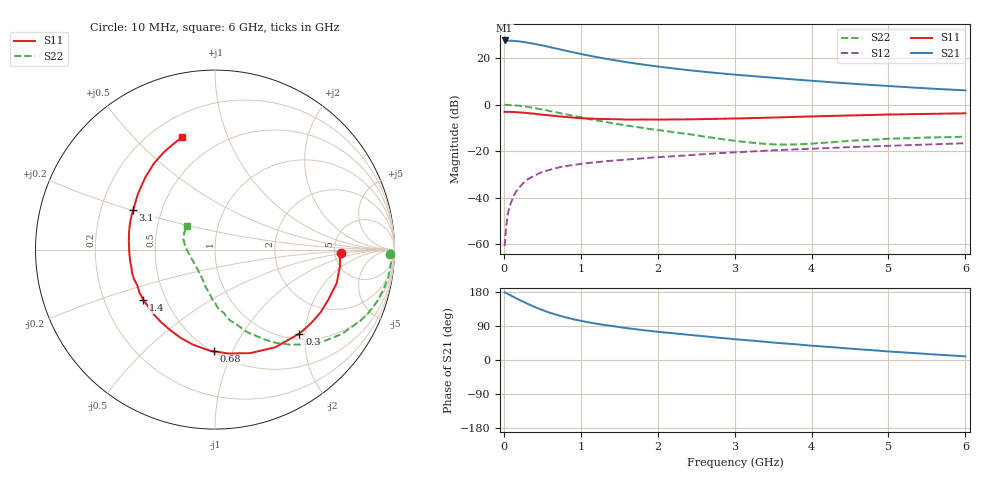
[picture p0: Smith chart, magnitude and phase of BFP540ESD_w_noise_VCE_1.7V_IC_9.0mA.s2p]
! Infineon Technologies  Discrete & RF Semiconductors
! BFP540ESD
! VCE =  1.7 V,  IC =  9.0 mA
! Common Emitter S-Parameters:  Nov 2015
# GHz  S  MA  R  50
!  f  S11  S21  S12  S22
! GHz  MAG  ANG  MAG  ANG  MAG  ANG  MAG  ANG
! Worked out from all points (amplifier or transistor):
!   210 points, 10 MHz to 6 GHz, reference 50 ohm
!   highest |S21| = 27.6 dB at 10 MHz (marker M1)
!   |S21| within 3 dB of that: start of sweep to 616.2 MHz
!   unconditionally stable (mu >= 1): 2.825 GHz to end of sweep
!   at 185 MHz: K = 0.10, MSG = 31.8 dB, |S12| = -36.4 dB
!   at 1.52 GHz: K = 0.70, MSG = 21.3 dB, |S12| = -23.9 dB
!   at 6 GHz: K = 1.17, MAG = 8.9 dB, |S12| = -16.6 dB
!   lowest NFmin = 0.83 dB at 900 MHz
!   S11 on the Smith chart (normalised r, x): 10 MHz: 5.63, -0.38; 300 MHz: 1.12, -1.87; 680 MHz: 0.51, -0.85; 1.4 GHz: 0.37, -0.27; 3.1 GHz: 0.34, +0.20; 6 GHz: 0.32, +0.70
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0.01  0.6997 -1.4  24.07 178.6  0.0009 105.3  0.973 -1.5
0.02  0.6975 -3.4  23.8 178.1  0.0014 84.6  0.9935 -1.8
0.05  0.7022 -7.7  23.9 174.5  0.0043 90.0  0.9833 -4.4
0.1  0.7034 -15.5  23.81 169.2  0.0083 84.9  0.9778 -9.0
0.15  0.6914 -23.0  23.46 164.0  0.0128 81.1  0.9646 -13.4
0.22  0.6793 -33.4  22.72 156.8  0.0179 75.6  0.939 -19.5
0.3  0.6637 -44.9  21.79 148.9  0.0241 72.1  0.903 -26.0
0.4  0.6395 -58.3  20.31 139.8  0.0298 66.1  0.8492 -33.6
0.5  0.6091 -71.3  18.87 131.6  0.0357 62.2  0.7888 -40.6
0.6  0.5832 -82.8  17.28 124.4  0.0396 58.1  0.7291 -46.5
0.68  0.5668 -90.8  16.17 119.6  0.0432 55.7  0.6843 -50.7
0.8  0.5435 -103.2  14.57 112.6  0.0474 52.2  0.6203 -56.9
1.02  0.5103 -120.8  12.14 102.6  0.0535 48.3  0.5229 -65.5
1.2  0.4959 -133.6  10.6 95.8  0.0576 45.5  0.4597 -71.5
1.4  0.4876 -145.0  9.273 89.6  0.0621 43.9  0.402 -78.2
1.7  0.4803 -160.1  7.733 81.3  0.068 41.7  0.3354 -86.0
2.02  0.4771 -172.8  6.553 74.0  0.074 40.1  0.2824 -92.5
2.56  0.4876 169.2  5.179 63.2  0.0849 37.7  0.2109 -105.2
3.1  0.5066 154.2  4.287 53.3  0.0959 34.6  0.1593 -121.8
4.1  0.5637 132.3  3.173 36.4  0.1143 28.1  0.1487 -172.3
5.1  0.6162 116.5  2.458 21.3  0.1319 21.2  0.1861 159.7
6  0.6517 106.4  2.03 9.6  0.1477 15.7  0.2044 140.6
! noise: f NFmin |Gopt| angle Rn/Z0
0.9  0.83  0.08  -128  0.11
1.8  1.03  0.14  -161  0.1
2.4  1.04  0.14  -156  0.1
3  1.16  0.21  -156  0.1
4  1.29  0.34  -115  0.15
5  1.48  0.45  -92  0.27
6  1.72  0.53  -95  0.5
